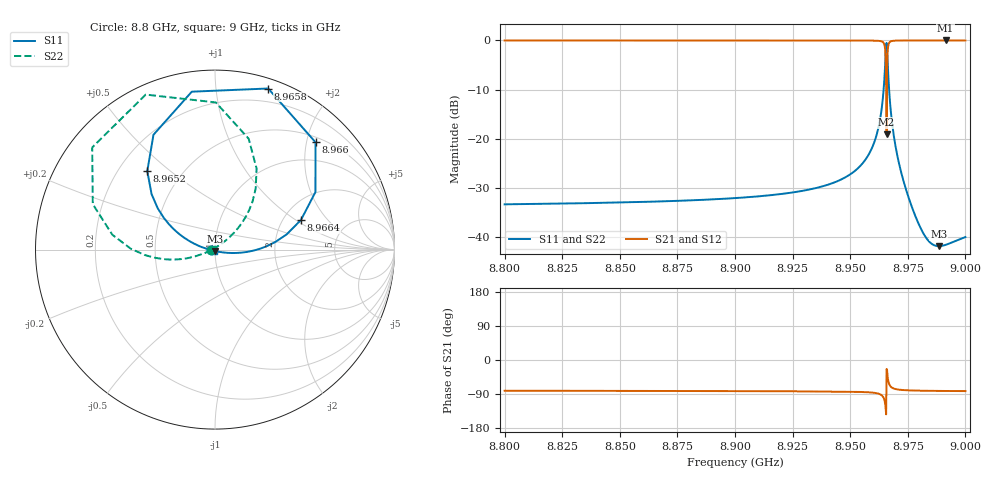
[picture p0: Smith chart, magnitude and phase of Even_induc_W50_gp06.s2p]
! Sonnet Data File
! From: emgraph Version : 16.52
! From Project: Resonator2_cp_varyW
! Data is De-embedded
! Data File Written: 10/07/2017 23:12:07
!< HDATE 10/07/2017 13:09:30
!< MDATE 10/07/2017 13:09:30
!< PARAMS
!< gap = 6.0
!< Length = 400.0
!< Pwid1 = 2000.0
!< Pwid2 = 2000.0
!< Air_gap = 30.0
!< Width = 50.0
!< END PARAMS
# GHZ S MA R 51.80000
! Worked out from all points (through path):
!   1001 points, 8.8 GHz to 9 GHz, reference 51.8 ohm
!   highest |S21| = 0.00 dB at 8.9914 GHz (marker M1); lowest = -19.1 dB at 8.9658 GHz (marker M2)
!   lowest |S11| = -41.9 dB at 8.9884 GHz (marker M3), VSWR 1.02, Z = 51.6 - j0.812 ohm
!   |S11| at or under -10 dB: start of sweep to 8.9645 GHz; 8.966884 GHz to end of sweep
!   |S22| runs from -41.8 to -0.5 dB; largest |S21 - S12| = 0
!   S11 on the Smith chart (normalised r, x): 8.8 GHz: 0.96, -0.01; 8.9652 GHz: 0.32, +0.42; 8.9658 GHz: 0.08, +1.38; 8.966 GHz: 0.60, +2.17; 8.9664 GHz: 2.49, +1.11; 9 GHz: 0.98, -0.01
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8.8  0.02146 -170.2  0.9998 -81.0  0.9998 -81.0  0.02146 -171.9
!< P1 F=8.8 Eeff=(6.4404796 -2.969e-5) Z0=(50.4071347 1.16291e-4) R=0.0 C=0.0
!< P2 F=8.8 Eeff=(6.4404796 -2.969e-5) Z0=(50.4071347 1.16291e-4) R=0.0 C=0.0
8.8334  0.02201 -171.1  0.9998 -81.4  0.9998 -81.4  0.02201 -171.7
8.8668  0.02294 -172.3  0.9997 -81.7  0.9997 -81.7  0.02294 -171.1
8.9  0.02483 -174.4  0.9997 -82.1  0.9997 -82.1  0.02484 -169.9
8.9334  0.03077 -178.8  0.9995 -82.8  0.9995 -82.8  0.03077 -166.9
8.9486  0.0413 176.5  0.9991 -83.6  0.9991 -83.6  0.04131 -163.7
8.9576  0.06634 170.6  0.9977 -85.1  0.9977 -85.1  0.06637 -161.1
8.9614  0.1079 165.4  0.9937 -87.5  0.9937 -87.5  0.108 -160.9
8.9638  0.2143 156.7  0.9747 -93.8  0.9747 -93.8  0.2144 -165.3
8.9646  0.3364 148.1  0.936 -101.0  0.936 -101.0  0.3366 -172.2
8.9652  0.5777 130.8  0.7955 -116.7  0.7955 -116.7  0.5781 171.8
8.9658  0.9452 71.7  0.1108 -23.6  0.1108 -23.6  0.9459 114.1
8.966  0.8192 46.9  0.5067 -26.7  0.5067 -26.7  0.8199 89.7
8.9664  0.5069 19.1  0.8452 -51.0  0.8452 -51.0  0.5073 62.8
8.9668  0.3388 7.2  0.9338 -61.6  0.9338 -61.6  0.3391 52.0
8.9676  0.1936 -3.0  0.9787 -70.3  0.9787 -70.3  0.1938 43.9
8.9692  0.09743 -11.3  0.9945 -75.9  0.9945 -75.9  0.09754 40.4
8.974  0.03163 -25.4  0.9994 -79.7  0.9994 -79.7  0.03169 46.4
8.9818  0.01082 -60.1  0.9999 -81.1  0.9999 -81.1  0.01087 78.1
8.9884  0.008047 -102.3  0.9999 -81.6  0.9999 -81.6  0.008083 119.1
8.9914  0.008292 -116.7  1 -81.8  1 -81.8  0.00832 133.2
9  0.009964 -139.2  0.9999 -82.0  0.9999 -82.0  0.009978 155.0
